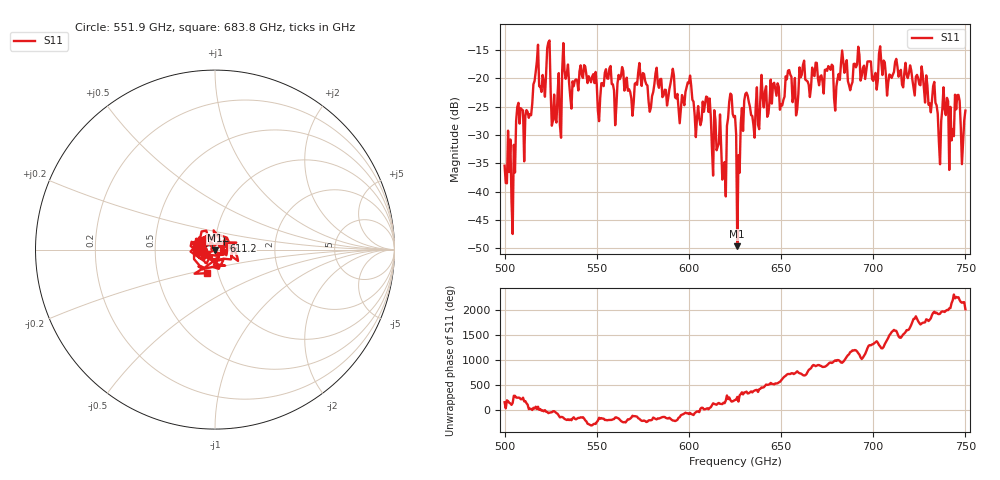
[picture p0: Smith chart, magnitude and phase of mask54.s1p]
!Created with skrf (http://scikit-rf.org).
# GHz S MA R 50.0
!freq magS11 angS11
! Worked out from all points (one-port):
!   401 points, 500 GHz to 750 GHz, reference 50 ohm
!   lowest |S11| = -49.6 dB at 626.2 GHz (marker M1), VSWR 1.01, Z = 50 - j0.328 ohm
!   |S11| at or under -10 dB: start of sweep to end of sweep
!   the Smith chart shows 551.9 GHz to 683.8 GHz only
!   S11 on the Smith chart (normalised r, x): 551.9 GHz: 0.87, -0.01; 611.2 GHz: 1.10, +0.10; 683.8 GHz: 0.88, -0.24
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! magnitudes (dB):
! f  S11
! 500 GHz  -35.4
! 505 GHz  -31.7
! 507.5 GHz  -24.3
! 511.9 GHz  -25.6
! 516.9 GHz  -18.9
! 523.8 GHz  -13.6
! 526.9 GHz  -22.9
! 531.2 GHz  -18.5
! 542.5 GHz  -19.9
! 551.9 GHz  -23.4
! 562.5 GHz  -20.1
! 593.8 GHz  -22.8
! 600 GHz  -20.9
! 611.2 GHz  -23.6
! 618.8 GHz  -37.0
! 621.9 GHz  -24.1
! 625 GHz  -26.6
! 626.2 GHz  -49.6
! 631.2 GHz  -22.5
! 635 GHz  -28.2
! 656.2 GHz  -24.2
! 683.8 GHz  -17.1
! 687.5 GHz  -22.1
! 718.8 GHz  -20.0
! 733.1 GHz  -20.6
! 735.6 GHz  -31.2
! 739.4 GHz  -26.5
! 750 GHz  -25.7
